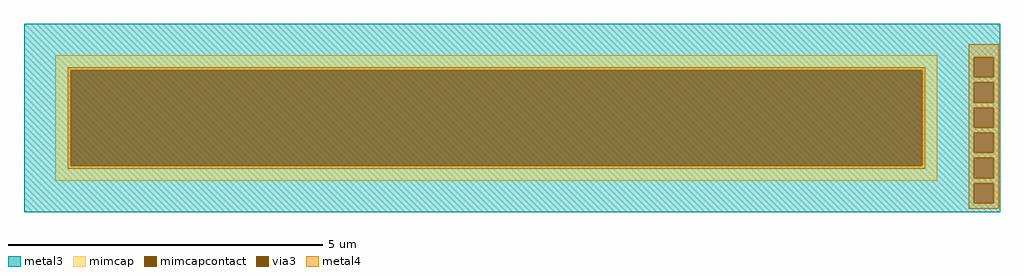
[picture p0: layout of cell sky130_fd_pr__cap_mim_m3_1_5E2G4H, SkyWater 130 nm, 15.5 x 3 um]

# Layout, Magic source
magic
tech sky130A
magscale 1 2
<< metal3 >>
rect -1550 193 1549 300
rect -1550 129 1465 193
rect 1529 129 1549 193
rect -1550 113 1549 129
rect -1550 49 1465 113
rect 1529 49 1549 113
rect -1550 33 1549 49
rect -1550 -31 1465 33
rect 1529 -31 1549 33
rect -1550 -47 1549 -31
rect -1550 -111 1465 -47
rect 1529 -111 1549 -47
rect -1550 -127 1549 -111
rect -1550 -191 1465 -127
rect 1529 -191 1549 -127
rect -1550 -207 1549 -191
rect -1550 -271 1465 -207
rect 1529 -271 1549 -207
rect -1550 -300 1549 -271
<< via3 >>
rect 1465 129 1529 193
rect 1465 49 1529 113
rect 1465 -31 1529 33
rect 1465 -111 1529 -47
rect 1465 -191 1529 -127
rect 1465 -271 1529 -207
<< mimcap >>
rect -1450 152 1350 200
rect -1450 -152 -1402 152
rect 1302 -152 1350 152
rect -1450 -200 1350 -152
<< mimcapcontact >>
rect -1402 -152 1302 152
<< metal4 >>
rect 1449 193 1545 234
rect -1411 152 1311 161
rect -1411 -152 -1402 152
rect 1302 -152 1311 152
rect -1411 -161 1311 -152
rect 1449 129 1465 193
rect 1529 129 1545 193
rect 1449 113 1545 129
rect 1449 49 1465 113
rect 1529 49 1545 113
rect 1449 33 1545 49
rect 1449 -31 1465 33
rect 1529 -31 1545 33
rect 1449 -47 1545 -31
rect 1449 -111 1465 -47
rect 1529 -111 1545 -47
rect 1449 -127 1545 -111
rect 1449 -191 1465 -127
rect 1529 -191 1545 -127
rect 1449 -207 1545 -191
rect 1449 -271 1465 -207
rect 1529 -271 1545 -207
rect 1449 -288 1545 -271
<< properties >>
string FIXED_BBOX -1550 -300 1450 300
<< end >>
